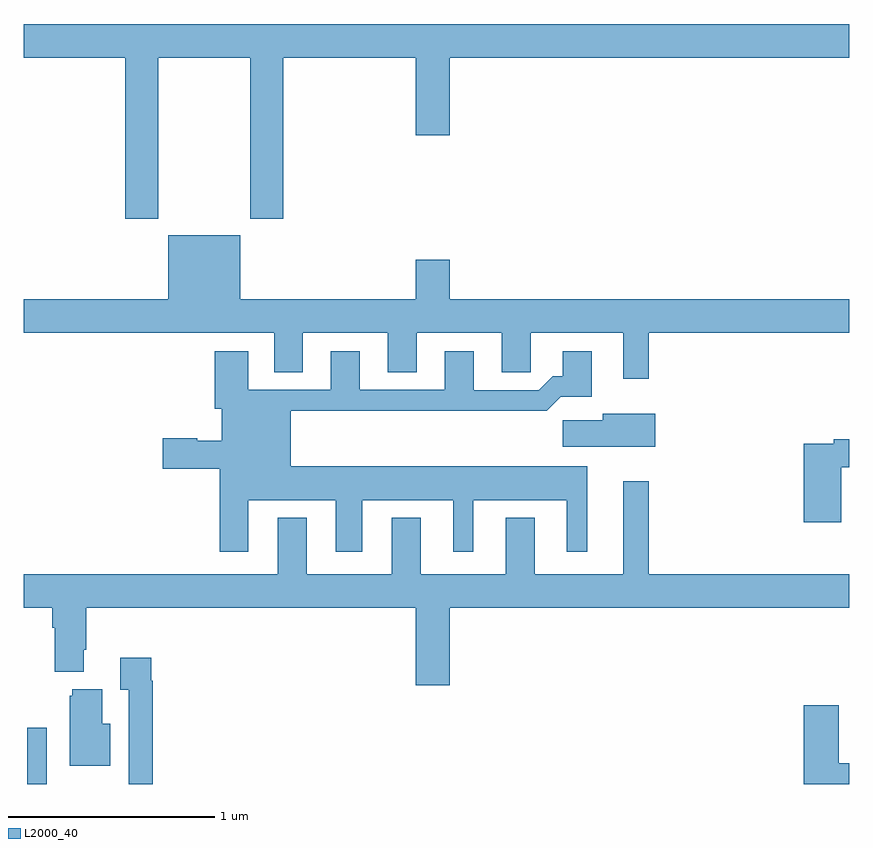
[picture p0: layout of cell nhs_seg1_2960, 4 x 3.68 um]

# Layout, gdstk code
import gdstk
lib = gdstk.Library(unit=1e-6, precision=1e-09)
def R(c, l, rs):  # rectangles x0, y0, x1, y1
    for r in rs: c.add(gdstk.rectangle(r[:2], r[2:], *l))
def P(c, l, *ps):  # polygons
    for p in ps: c.add(gdstk.Polygon(p, *l))
L2000_40 = (2000, 40)

nhs_seg1_2960 = lib.new_cell('nhs_seg1_2960')
R(nhs_seg1_2960, L2000_40, [(271.017,564.199,271.113,564.472)])
P(nhs_seg1_2960, L2000_40, [(271.653,567.716),(272.098,567.716),(272.098,566.937),(272.258,566.937),(272.258,567.716),(272.9,567.716),(272.9,567.342),(273.064,567.342),(273.064,567.716),(275,567.716),(275,567.88),(271,567.88),(271,567.716),(271.493,567.716),(271.493,566.937),(271.653,566.937)],
  [(274.027,566.384),(275,566.384),(275,566.548),(273.064,566.548),(273.064,566.737),(272.9,566.737),(272.9,566.548),(272.05,566.548),(272.05,566.857),(271.7,566.857),(271.7,566.548),(271,566.548),(271,566.384),(272.213,566.384),(272.213,566.194),(272.353,566.194),(272.353,566.384),(272.765,566.384),(272.765,566.194),(272.905,566.194),(272.905,566.384),(273.317,566.384),(273.317,566.194),(273.456,566.194),(273.456,566.384),(273.905,566.384),(273.905,566.163),(274.027,566.163)],
  [(272.089,565.574),(272.513,565.574),(272.513,565.323),(272.641,565.323),(272.641,565.574),(273.08,565.574),(273.08,565.323),(273.178,565.323),(273.178,565.574),(273.632,565.574),(273.632,565.323),(273.73,565.323),(273.73,565.738),(272.293,565.738),(272.293,566.008),(273.277,566.008),(273.277,566.006),(273.533,566.006),(273.602,566.075),(273.751,566.075),(273.751,566.296),(273.611,566.296),(273.611,566.173),(273.562,566.173),(273.495,566.106),(273.181,566.106),(273.181,566.296),(273.041,566.296),(273.041,566.109),(272.629,566.109),(272.629,566.296),(272.489,566.296),(272.489,566.109),(272.089,566.109),(272.089,566.296),(271.925,566.296),(271.925,566.016),(271.961,566.016),(271.961,565.861),(271.841,565.861),(271.841,565.874),(271.674,565.874),(271.674,565.727),(271.949,565.727),(271.949,565.323),(272.089,565.323)],
  [(274.06,565.993),(273.806,565.993),(273.806,565.961),(273.612,565.961),(273.612,565.832),(274.06,565.832)],
  [(274.961,565.732),(275,565.732),(275,565.868),(274.924,565.868),(274.924,565.848),(274.778,565.848),(274.778,565.467),(274.961,565.467)],
  [(273.064,565.052),(275,565.052),(275,565.216),(274.027,565.216),(274.027,565.666),(273.905,565.666),(273.905,565.216),(273.475,565.216),(273.475,565.489),(273.335,565.489),(273.335,565.216),(272.923,565.216),(272.923,565.489),(272.783,565.489),(272.783,565.216),(272.371,565.216),(272.371,565.489),(272.231,565.489),(272.231,565.216),(271,565.216),(271,565.052),(271.139,565.052),(271.139,564.956),(271.151,564.956),(271.151,564.743),(271.291,564.743),(271.291,564.85),(271.304,564.85),(271.304,565.052),(272.9,565.052),(272.9,564.678),(273.064,564.678)],
  [(271.625,564.698),(271.618,564.698),(271.618,564.811),(271.469,564.811),(271.469,564.655),(271.509,564.655),(271.509,564.199),(271.625,564.199)],
  [(271.42,564.49),(271.381,564.49),(271.381,564.658),(271.235,564.658),(271.235,564.627),(271.223,564.627),(271.223,564.287),(271.42,564.287)],
  [(275,564.299),(274.948,564.299),(274.948,564.58),(274.778,564.58),(274.778,564.199),(275,564.199)])

lib.write_gds('nhs_seg1_2960.gds')
